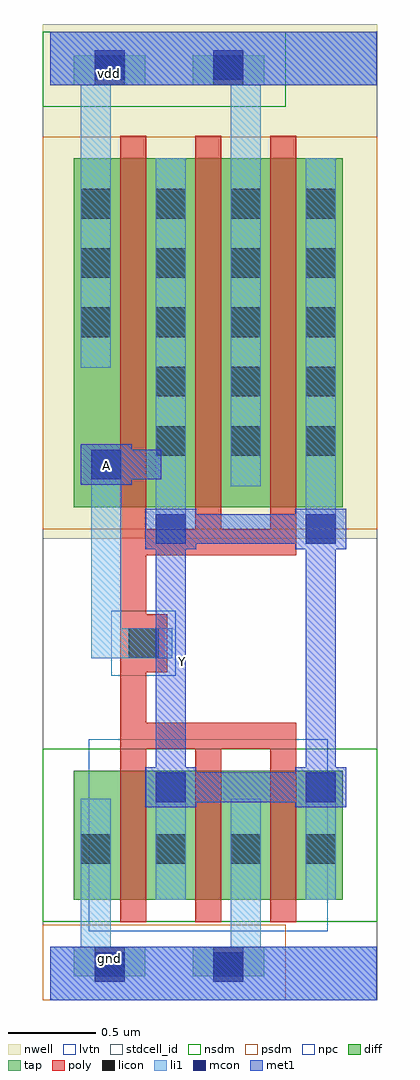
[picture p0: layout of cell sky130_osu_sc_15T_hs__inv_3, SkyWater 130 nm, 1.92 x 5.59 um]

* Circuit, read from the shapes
.subckt sky130_osu_sc_15T_hs__inv_3 A Y gnd vdd
XM1 Y A gnd gnd sky130_fd_pr__nfet_01v8_lvt w=0.74 l=0.15 m=3
XM2 Y A vdd vdd sky130_fd_pr__pfet_01v8 w=2 l=0.15 m=3
.ends

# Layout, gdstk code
import gdstk
lib = gdstk.Library(unit=1e-6, precision=1e-09)
def R(c, l, rs):  # rectangles x0, y0, x1, y1
    for r in rs: c.add(gdstk.rectangle(r[:2], r[2:], *l))
def A(c, l, x, y, w, h, nx, ny, dx, dy):  # array of equal rectangles
    R(c, l, [(x+i*dx, y+j*dy, x+i*dx+w, y+j*dy+h) for i in range(nx) for j in range(ny)])
nwell = (64, 20)
diff = (65, 20)
tap = (65, 44)
poly = (66, 20)
licon = (66, 44)
li1 = (67, 20)
mcon = (67, 44)
met1 = (68, 20)
stdcell_id = (81, 4)
nsdm = (93, 44)
psdm = (94, 20)
npc = (95, 20)
lvtn = (125, 44)

sky130_osu_sc_15t_hs__in = lib.new_cell('sky130_osu_sc_15T_hs__inv_3')
R(sky130_osu_sc_15t_hs__in, nwell, [(-0.045,2.645,1.875,5.595)])
R(sky130_osu_sc_15t_hs__in, diff, [(0.135,0.575,1.675,1.315), (0.135,2.825,1.675,4.825)])
R(sky130_osu_sc_15t_hs__in, tap, [(0.135,0.135,0.545,0.305), (0.815,0.135,1.225,0.305), (0.135,5.245,0.545,5.415), (0.815,5.245,1.225,5.415)])
A(sky130_osu_sc_15t_hs__in, poly, 0.4, 0.445, 0.15, 0.995, 3, 1, 0.43, 0)
A(sky130_osu_sc_15t_hs__in, poly, 0.4, 2.7, 0.15, 2.255, 3, 1, 0.43, 0)
R(sky130_osu_sc_15t_hs__in, poly, [(0.4,1.44,1.41,1.59), (0.4,1.59,0.55,1.88), (0.4,1.88,0.67,2.21), (0.4,2.21,0.55,2.55), (0.4,2.55,1.41,2.7)])
A(sky130_osu_sc_15t_hs__in, licon, 0.175, 0.78, 0.17, 0.17, 4, 2, 0.43, 3.02)
A(sky130_osu_sc_15t_hs__in, licon, 0.605, 3.12, 0.17, 0.17, 3, 2, 0.43, 0.34)
A(sky130_osu_sc_15t_hs__in, licon, 0.175, 4.14, 0.17, 0.17, 4, 2, 0.43, 0.34)
R(sky130_osu_sc_15t_hs__in, licon, [(0.255,0.135,0.425,0.305), (0.935,0.135,1.105,0.305), (0.45,1.96,0.62,2.13), (0.255,5.245,0.425,5.415), (0.935,5.245,1.105,5.415)])
R(sky130_osu_sc_15t_hs__in, li1, [(0,0,1.87,0.305), (0.175,0.305,0.345,1.155), (1.035,0.305,1.205,1.155), (0.605,0.575,0.775,1.305), (1.465,0.575,1.635,1.305), (0.235,1.96,0.7,2.13), (0.235,2.13,0.405,3.155), (0.605,2.615,0.775,4.825), (1.465,2.615,1.635,4.825), (1.035,2.945,1.205,5.245), (0.175,3.625,0.345,5.245), (0,5.245,1.87,5.55)])
R(sky130_osu_sc_15t_hs__in, mcon, [(0.255,0.105,0.425,0.275), (0.935,0.105,1.105,0.275), (0.605,1.135,0.775,1.305), (1.465,1.135,1.635,1.305), (0.605,2.615,0.775,2.785), (1.465,2.615,1.635,2.785), (0.235,2.985,0.405,3.155), (0.255,5.275,0.425,5.445), (0.935,5.275,1.105,5.445)])
R(sky130_osu_sc_15t_hs__in, met1, [(0,0,1.87,0.305), (0.545,1.105,0.835,1.135), (1.405,1.105,1.695,1.135), (0.545,1.135,1.695,1.305), (0.545,1.305,0.835,1.335), (1.405,1.305,1.695,1.335), (0.605,1.335,0.775,2.585), (1.465,1.335,1.635,2.585), (0.545,2.585,0.835,2.615), (1.405,2.585,1.695,2.615), (0.545,2.615,1.695,2.785), (0.545,2.785,0.835,2.815), (1.405,2.785,1.695,2.815), (0.175,2.955,0.465,2.985), (0.175,2.985,0.635,3.155), (0.175,3.155,0.465,3.185), (0,5.245,1.87,5.55)])
R(sky130_osu_sc_15t_hs__in, stdcell_id, [(-0.045,0,1.875,5.55)])
R(sky130_osu_sc_15t_hs__in, nsdm, [(-0.045,0.45,1.875,1.44), (-0.045,5.12,1.35,5.55)])
R(sky130_osu_sc_15t_hs__in, psdm, [(-0.045,0,1.35,0.43), (-0.045,2.7,1.875,4.95)])
R(sky130_osu_sc_15t_hs__in, npc, [(0.35,1.86,0.72,2.23)])
R(sky130_osu_sc_15t_hs__in, lvtn, [(0.22,0.395,1.59,1.495)])
sky130_osu_sc_15t_hs__in.add(gdstk.Label('gnd', (0.34,0.24), layer=68, texttype=16))
sky130_osu_sc_15t_hs__in.add(gdstk.Label('vdd', (0.34,5.31), layer=68, texttype=16))
sky130_osu_sc_15t_hs__in.add(gdstk.Label('Y', (0.76,1.94), layer=68, texttype=5))
sky130_osu_sc_15t_hs__in.add(gdstk.Label('A', (0.32,3.065), layer=68, texttype=5))

lib.write_gds('sky130_osu_sc_15T_hs__inv_3.gds')
